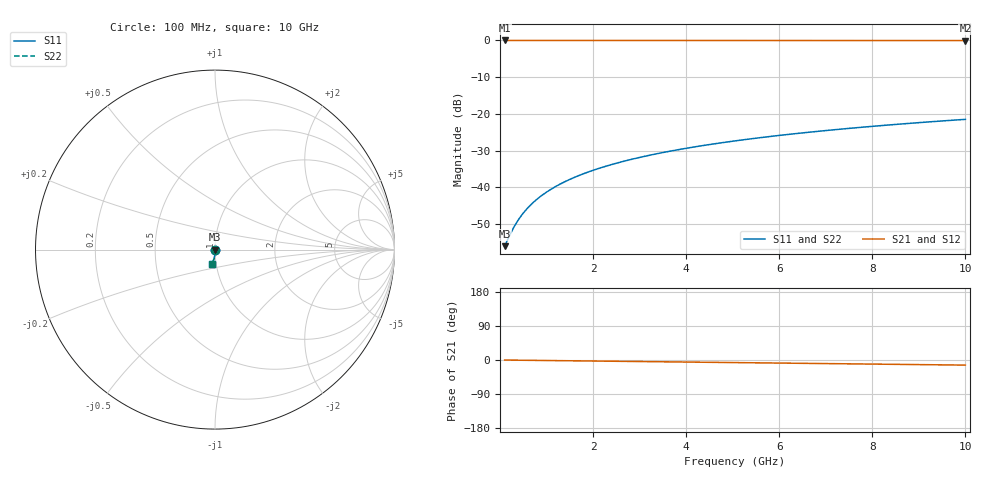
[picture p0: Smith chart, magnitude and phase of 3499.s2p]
# Hz S RI R 50.00
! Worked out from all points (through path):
!   100 points, 100 MHz to 10 GHz, reference 50 ohm
!   highest |S21| = -0.01 dB at 100 MHz (marker M1); lowest = 0.0 dB at 10 GHz (marker M2)
!   group delay of S21, straight-line fit = 3.75 ps
!   lowest |S11| = -56.0 dB at 100 MHz (marker M3), VSWR 1.00, Z = 50.1 - j0.0857 ohm
!   |S11| at or under -10 dB: start of sweep to end of sweep
!   |S22| runs from -56.0 to -21.5 dB; largest |S21 - S12| = 0
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1e8  0.00134 -0.000854  0.9987 -0.00235  0.9987 -0.00235  0.00134 -0.000854
2e8  0.00134 -0.00171  0.9986 -0.00471  0.9986 -0.00471  0.00134 -0.00171
3e8  0.00133 -0.00256  0.9986 -0.00706  0.9986 -0.00706  0.00133 -0.00256
4e8  0.00132 -0.00342  0.9986 -0.00941  0.9986 -0.00941  0.00132 -0.00342
5e8  0.00131 -0.00427  0.9985 -0.0118  0.9985 -0.0118  0.00131 -0.00427
6e8  0.00129 -0.00513  0.9985 -0.0141  0.9985 -0.0141  0.00129 -0.00513
7e8  0.00126 -0.00598  0.9985 -0.0165  0.9985 -0.0165  0.00126 -0.00598
9e8  0.0012 -0.00769  0.9984 -0.0212  0.9984 -0.0212  0.0012 -0.00769
1e9  0.00117 -0.00854  0.9983 -0.0235  0.9983 -0.0235  0.00117 -0.00854
1.2e9  0.00108 -0.0102  0.9981 -0.0282  0.9981 -0.0282  0.00108 -0.0102
1.5e9  0.000921 -0.0128  0.9979 -0.0353  0.9979 -0.0353  0.000921 -0.0128
1.8e9  0.000724 -0.0154  0.9976 -0.0423  0.9976 -0.0423  0.000724 -0.0154
2.1e9  0.000491 -0.0179  0.9972 -0.0494  0.9972 -0.0494  0.000491 -0.0179
2.5e9  0.000124 -0.0213  0.9966 -0.0588  0.9966 -0.0588  0.000124 -0.0213
2.9e9  -0.000308 -0.0247  0.9959 -0.0682  0.9959 -0.0682  -0.000308 -0.0247
3.4e9  -0.000937 -0.0289  0.9949 -0.0799  0.9949 -0.0799  -0.000937 -0.0289
4.2e9  -0.00215 -0.0357  0.993 -0.0986  0.993 -0.0986  -0.00215 -0.0357
5.1e9  -0.00382 -0.0432  0.9903 -0.1196  0.9903 -0.1196  -0.00382 -0.0432
5.9e9  -0.00557 -0.0498  0.9876 -0.1382  0.9876 -0.1382  -0.00557 -0.0498
6.7e9  -0.00756 -0.0563  0.9844 -0.1567  0.9844 -0.1567  -0.00756 -0.0563
8.4e9  -0.0126 -0.0699  0.9764 -0.1957  0.9764 -0.1957  -0.0126 -0.0699
1e10  -0.0183 -0.0823  0.9673 -0.2321  0.9673 -0.2321  -0.0183 -0.0823
